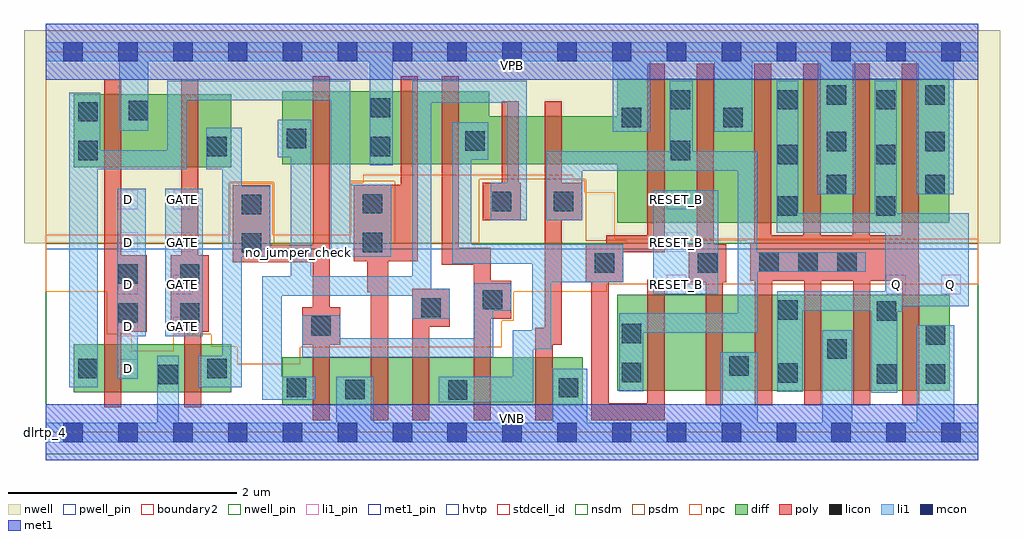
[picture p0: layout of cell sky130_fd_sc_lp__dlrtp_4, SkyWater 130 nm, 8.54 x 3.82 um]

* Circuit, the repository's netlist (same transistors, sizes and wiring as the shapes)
* Copyright 2020 The SkyWater PDK Authors
*
* Licensed under the Apache License, Version 2.0 (the "License");
* you may not use this file except in compliance with the License.
* You may obtain a copy of the License at
*
*     https://www.apache.org/licenses/LICENSE-2.0
*
* Unless required by applicable law or agreed to in writing, software
* distributed under the License is distributed on an "AS IS" BASIS,
* WITHOUT WARRANTIES OR CONDITIONS OF ANY KIND, either express or implied.
* See the License for the specific language governing permissions and
* limitations under the License.
*
* SPDX-License-Identifier: Apache-2.0

.SUBCKT sky130_fd_sc_lp__dlrtp_4 D GATE RESET_B VGND VNB VPB VPWR Q
*.PININFO D:I GATE:I RESET_B:I VGND:I VNB:I VPB:I VPWR:I Q:O
MI635 clkpos clkneg VPWR VPB sky130_fd_pr__pfet_01v8_hvt m=1 w=0.64U l=0.15U mult=1
+ sa=0.265 sb=0.265 sd=0.28 area=0.063 perim=1.14
MI17 M0 clkneg net51 VPB sky130_fd_pr__pfet_01v8_hvt m=1 w=0.64U l=0.15U mult=1
+ sa=0.265 sb=0.265 sd=0.28 area=0.063 perim=1.14
MI650 Q m1 VPWR VPB sky130_fd_pr__pfet_01v8_hvt m=4 w=1.26U l=0.15U mult=1 sa=0.265
+ sb=0.265 sd=0.28 area=0.063 perim=1.14
MI633 clkneg GATE VPWR VPB sky130_fd_pr__pfet_01v8_hvt m=1 w=0.64U l=0.15U mult=1
+ sa=0.265 sb=0.265 sd=0.28 area=0.063 perim=1.14
MI658 m1 RESET_B VPWR VPB sky130_fd_pr__pfet_01v8_hvt m=1 w=1.26U l=0.15U mult=1
+ sa=0.265 sb=0.265 sd=0.28 area=0.063 perim=1.14
MI18 net51 db VPWR VPB sky130_fd_pr__pfet_01v8_hvt m=1 w=0.64U l=0.15U mult=1 sa=0.265
+ sb=0.265 sd=0.28 area=0.063 perim=1.14
MI653 net59 m1 VPWR VPB sky130_fd_pr__pfet_01v8_hvt m=1 w=0.42U l=0.15U mult=1
+ sa=0.265 sb=0.265 sd=0.28 area=0.063 perim=1.14
MI651 M0 clkpos net59 VPB sky130_fd_pr__pfet_01v8_hvt m=1 w=0.42U l=0.15U mult=1
+ sa=0.265 sb=0.265 sd=0.28 area=0.063 perim=1.14
MI655 m1 M0 VPWR VPB sky130_fd_pr__pfet_01v8_hvt m=1 w=1.26U l=0.15U mult=1 sa=0.265
+ sb=0.265 sd=0.28 area=0.063 perim=1.14
MI638 db D VPWR VPB sky130_fd_pr__pfet_01v8_hvt m=1 w=0.64U l=0.15U mult=1 sa=0.265
+ sb=0.265 sd=0.28 area=0.063 perim=1.14
MI634 clkneg GATE VGND VNB sky130_fd_pr__nfet_01v8 m=1 w=0.42U l=0.15U mult=1 sa=0.265
+ sb=0.265 sd=0.28 area=0.063 perim=1.14
MI649 Q m1 VGND VNB sky130_fd_pr__nfet_01v8 m=4 w=0.84U l=0.15U mult=1 sa=0.265
+ sb=0.265 sd=0.28 area=0.063 perim=1.14
MI657 net86 RESET_B VGND VNB sky130_fd_pr__nfet_01v8 m=1 w=0.84U l=0.15U mult=1
+ sa=0.265 sb=0.265 sd=0.28 area=0.063 perim=1.14
MI652 M0 clkneg net102 VNB sky130_fd_pr__nfet_01v8 m=1 w=0.42U l=0.15U mult=1 sa=0.265
+ sb=0.265 sd=0.28 area=0.063 perim=1.14
MI654 net102 m1 VGND VNB sky130_fd_pr__nfet_01v8 m=1 w=0.42U l=0.15U mult=1 sa=0.265
+ sb=0.265 sd=0.28 area=0.063 perim=1.14
MI656 m1 M0 net86 VNB sky130_fd_pr__nfet_01v8 m=1 w=0.84U l=0.15U mult=1 sa=0.265
+ sb=0.265 sd=0.28 area=0.063 perim=1.14
MI636 clkpos clkneg VGND VNB sky130_fd_pr__nfet_01v8 m=1 w=0.42U l=0.15U mult=1
+ sa=0.265 sb=0.265 sd=0.28 area=0.063 perim=1.14
MI637 db D VGND VNB sky130_fd_pr__nfet_01v8 m=1 w=0.42U l=0.15U mult=1 sa=0.265
+ sb=0.265 sd=0.28 area=0.063 perim=1.14
MI19 M0 clkpos net98 VNB sky130_fd_pr__nfet_01v8 m=1 w=0.42U l=0.15U mult=1 sa=0.265
+ sb=0.265 sd=0.28 area=0.063 perim=1.14
MI20 net98 db VGND VNB sky130_fd_pr__nfet_01v8 m=1 w=0.42U l=0.15U mult=1 sa=0.265
+ sb=0.265 sd=0.28 area=0.063 perim=1.14
.ENDS sky130_fd_sc_lp__dlrtp_4

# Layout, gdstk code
import gdstk
lib = gdstk.Library(unit=1e-6, precision=1e-09)
def R(c, l, rs):  # rectangles x0, y0, x1, y1
    for r in rs: c.add(gdstk.rectangle(r[:2], r[2:], *l))
def A(c, l, x, y, w, h, nx, ny, dx, dy):  # array of equal rectangles
    R(c, l, [(x+i*dx, y+j*dy, x+i*dx+w, y+j*dy+h) for i in range(nx) for j in range(ny)])
def P(c, l, *ps):  # polygons
    for p in ps: c.add(gdstk.Polygon(p, *l))
nwell_pin = (64, 16)
nwell = (64, 20)
diff = (65, 20)
poly = (66, 20)
licon = (66, 44)
li1_pin = (67, 16)
li1 = (67, 20)
mcon = (67, 44)
met1_pin = (68, 16)
met1 = (68, 20)
hvtp = (78, 44)
stdcell_id = (81, 4)
nsdm = (93, 44)
psdm = (94, 20)
npc = (95, 20)
pwell_pin = (122, 16)
boundary2 = (236, 0)

sky130_fd_sc_lp__dlrtp_4 = lib.new_cell('sky130_fd_sc_lp__dlrtp_4')
R(sky130_fd_sc_lp__dlrtp_4, nwell_pin, [(0,3.085,8.16,3.33)])
R(sky130_fd_sc_lp__dlrtp_4, nwell, [(-0.19,1.655,8.35,3.52)])
R(sky130_fd_sc_lp__dlrtp_4, diff, [(2.07,0.235,4.7,0.655), (0.245,0.35,1.625,0.77), (5,0.365,7.91,1.205), (0.245,2.32,1.625,2.96)])
P(sky130_fd_sc_lp__dlrtp_4, diff, [(7.905,3.095),(5,3.095),(5,2.765),(3.88,2.765),(3.88,2.985),(2.07,2.985),(2.07,2.345),(5,2.345),(5,1.835),(7.905,1.835)])
P(sky130_fd_sc_lp__dlrtp_4, poly, [(0.885,1.55),(0.66,1.55),(0.66,3.09),(0.51,3.09),(0.51,0.22),(0.66,0.22),(0.66,0.88),(0.885,0.88)],
  [(1.425,1.55),(1.335,1.55),(1.335,3.09),(1.185,3.09),(1.185,1.55),(1.095,1.55),(1.095,0.88),(1.21,0.88),(1.21,0.22),(1.36,0.22),(1.36,0.88),(1.425,0.88)],
  [(2.575,1.095),(2.485,1.095),(2.485,3.115),(2.335,3.115),(2.335,1.64),(1.965,1.64),(1.965,2.16),(1.635,2.16),(1.635,1.49),(2.335,1.49),(2.335,1.095),(2.245,1.095),(2.245,0.765),(2.335,0.765),(2.335,0.105),(2.485,0.105),(2.485,0.765),(2.575,0.765)],
  [(3.255,3.115),(3.105,3.115),(3.105,2.165),(2.695,2.165),(2.695,1.495),(2.815,1.495),(2.815,1.225),(2.845,1.225),(2.845,0.105),(2.995,0.105),(2.995,1.495),(3.255,1.495)],
  [(3.535,1.255),(3.205,1.255),(3.205,0.105),(3.355,0.105),(3.355,0.925),(3.535,0.925)],
  [(4.075,1.325),(3.895,1.325),(3.895,1.615),(3.615,1.615),(3.615,3.115),(3.465,3.115),(3.465,1.465),(3.745,1.465),(3.745,0.105),(3.895,0.105),(3.895,0.995),(4.075,0.995)],
  [(4.155,2.185),(4.14,2.185),(4.14,2.895),(3.99,2.895),(3.99,2.185),(3.825,2.185),(3.825,1.855),(4.155,1.855)],
  [(4.695,2.185),(4.515,2.185),(4.515,2.895),(4.365,2.895),(4.365,0.915),(4.285,0.915),(4.285,0.105),(4.435,0.105),(4.435,0.765),(4.515,0.765),(4.515,1.855),(4.695,1.855)],
  [(5.415,1.335),(5.265,1.335),(5.265,0.255),(4.925,0.255),(4.925,1.315),(5.055,1.315),(5.055,1.575),(5.415,1.575),(5.415,3.225),(5.265,3.225),(5.265,1.725),(4.905,1.725),(4.905,1.645),(4.725,1.645),(4.725,1.315),(4.775,1.315),(4.775,0.105),(5.415,0.105)],
  [(5.955,1.645),(5.845,1.645),(5.845,3.225),(5.695,3.225),(5.695,1.645),(5.625,1.645),(5.625,1.315),(5.775,1.315),(5.775,0.235),(5.925,0.235),(5.925,1.315),(5.955,1.315)],
  [(7.645,1.475),(7.64,1.475),(7.64,3.225),(7.49,3.225),(7.49,1.725),(7.21,1.725),(7.21,3.225),(7.06,3.225),(7.06,1.725),(6.78,1.725),(6.78,3.225),(6.63,3.225),(6.63,1.725),(6.35,1.725),(6.35,3.225),(6.2,3.225),(6.2,1.655),(6.165,1.655),(6.165,1.325),(6.205,1.325),(6.205,0.235),(6.355,0.235),(6.355,1.325),(6.635,1.325),(6.635,0.235),(6.785,0.235),(6.785,1.325),(7.065,1.325),(7.065,0.235),(7.215,0.235),(7.215,1.325),(7.495,1.325),(7.495,0.235),(7.645,0.235)])
A(sky130_fd_sc_lp__dlrtp_4, licon, 6.245, 1.405, 0.17, 0.17, 3, 1, 0.34, 0)
R(sky130_fd_sc_lp__dlrtp_4, licon, [(3.52,0.285,3.69,0.455), (2.62,0.29,2.79,0.46), (2.11,0.305,2.28,0.475), (4.49,0.305,4.66,0.475), (0.985,0.42,1.155,0.59), (7.27,0.425,7.44,0.595), (7.7,0.425,7.87,0.595), (6.41,0.435,6.58,0.605), (5.04,0.44,5.21,0.61), (0.285,0.475,0.455,0.645), (1.415,0.475,1.585,0.645), (5.98,0.495,6.15,0.665), (6.84,0.645,7.01,0.815), (7.7,0.765,7.87,0.935), (5.04,0.78,5.21,0.95), (2.325,0.845,2.495,1.015), (0.635,0.96,0.805,1.13), (1.175,0.96,1.345,1.13), (7.27,0.975,7.44,1.145), (6.41,0.985,6.58,1.155), (3.285,1.005,3.455,1.175), (3.825,1.075,3.995,1.245), (0.635,1.3,0.805,1.47), (1.175,1.3,1.345,1.47), (4.805,1.395,4.975,1.565), (5.705,1.395,5.875,1.565), (1.715,1.57,1.885,1.74), (2.775,1.575,2.945,1.745), (6.405,1.895,6.575,2.065), (7.265,1.895,7.435,2.065), (1.715,1.91,1.885,2.08), (2.775,1.915,2.945,2.085), (3.905,1.935,4.075,2.105), (4.445,1.935,4.615,2.105), (6.835,2.085,7.005,2.255), (7.695,2.085,7.865,2.255), (6.405,2.345,6.575,2.515), (7.265,2.345,7.435,2.515), (0.285,2.38,0.455,2.55), (5.47,2.38,5.64,2.55), (1.415,2.415,1.585,2.585), (2.845,2.415,3.015,2.585), (6.835,2.46,7.005,2.63), (7.695,2.46,7.865,2.63), (3.67,2.465,3.84,2.635), (2.11,2.485,2.28,2.655), (5.04,2.67,5.21,2.84), (5.93,2.67,6.1,2.84), (0.285,2.72,0.455,2.89), (0.725,2.73,0.895,2.9), (2.845,2.755,3.015,2.925), (5.47,2.825,5.64,2.995), (6.405,2.825,6.575,2.995), (7.265,2.825,7.435,2.995), (6.835,2.865,7.005,3.035), (7.695,2.865,7.865,3.035)])
A(sky130_fd_sc_lp__dlrtp_4, li1_pin, 0.635, 0.47, 0.17, 0.17, 1, 5, 0, 0.37)
A(sky130_fd_sc_lp__dlrtp_4, li1_pin, 1.115, 0.84, 0.17, 0.17, 1, 4, 0, 0.37)
A(sky130_fd_sc_lp__dlrtp_4, li1_pin, 5.435, 1.21, 0.17, 0.17, 1, 3, 0, 0.37)
R(sky130_fd_sc_lp__dlrtp_4, li1_pin, [(7.355,1.21,7.525,1.38), (7.835,1.21,8.005,1.38)])
R(sky130_fd_sc_lp__dlrtp_4, li1, [(1.045,0.84,1.375,2.13), (5.315,1.21,5.885,2.12)])
P(sky130_fd_sc_lp__dlrtp_4, li1, [(2.835,2.335),(2.835,3.245),(0.895,3.245),(0.895,2.64),(0.645,2.64),(0.645,3.245),(0,3.245),(0,3.415),(8.16,3.415),(8.16,3.245),(7.945,3.245),(7.945,2.085),(7.615,2.085),(7.615,3.245),(7.085,3.245),(7.085,2.085),(6.755,2.085),(6.755,3.245),(6.18,3.245),(6.18,2.63),(5.85,2.63),(5.85,3.245),(5.29,3.245),(5.29,2.63),(4.96,2.63),(4.96,3.245),(3.035,3.245),(3.035,2.335)],
  [(4.435,0.085),(4.435,0.555),(4.74,0.555),(4.74,0.085),(5.9,0.085),(5.9,0.7),(6.23,0.7),(6.23,0.085),(6.795,0.085),(6.795,0.895),(7.055,0.895),(7.055,0.085),(7.62,0.085),(7.62,0.935),(7.95,0.935),(7.95,0.085),(8.16,0.085),(8.16,-0.085),(0,-0.085),(0,0.085),(0.975,0.085),(0.975,0.67),(1.165,0.67),(1.165,0.085),(2.54,0.085),(2.54,0.485),(2.87,0.485),(2.87,0.085)],
  [(2.495,1.535),(2.495,2.905),(1.235,2.905),(1.235,2.3),(0.455,2.3),(0.455,0.395),(0.205,0.395),(0.205,2.97),(0.475,2.97),(0.475,2.47),(1.065,2.47),(1.065,3.075),(2.665,3.075),(2.665,2.165),(3.025,2.165),(3.025,1.535)],
  [(5.46,2.46),(5.46,3.075),(5.66,3.075),(5.66,2.46),(6.225,2.46),(6.225,1.575),(7.175,1.575),(7.175,1.405),(6.23,1.405),(6.23,0.87),(5.23,0.87),(5.23,0.36),(5.02,0.36),(5.02,1.04),(6.055,1.04),(6.055,2.29),(4.695,2.29),(4.695,1.855),(4.38,1.855),(4.38,2.46)],
  [(4.255,1.475),(3.555,1.475),(3.555,2.715),(3.87,2.715),(3.87,2.385),(3.725,2.385),(3.725,1.645),(5.055,1.645),(5.055,1.315),(4.425,1.315),(4.425,0.725),(4.265,0.725),(4.265,0.265),(3.44,0.265),(3.44,0.485),(4.085,0.485),(4.085,0.895),(4.255,0.895)],
  [(2.575,0.825),(3.745,0.825),(3.745,1.305),(4.075,1.305),(4.075,1.065),(3.915,1.065),(3.915,0.655),(2.245,0.655),(2.245,1.025),(2.575,1.025)],
  [(3.205,3.075),(4.21,3.075),(4.21,1.855),(3.895,1.855),(3.895,2.185),(4.04,2.185),(4.04,2.885),(3.375,2.885),(3.375,1.255),(3.535,1.255),(3.535,0.995),(3.205,0.995),(3.205,1.195),(2.065,1.195),(2.065,0.485),(2.36,0.485),(2.36,0.285),(1.895,0.285),(1.895,1.365),(2.145,1.365),(2.145,2.405),(2.03,2.405),(2.03,2.735),(2.325,2.735),(2.325,1.365),(3.205,1.365)],
  [(0.805,0.84),(0.875,0.84),(0.875,2.13),(0.625,2.13),(0.625,0.47),(0.805,0.47)],
  [(1.715,2.155),(1.965,2.155),(1.965,1.535),(1.715,1.535),(1.715,0.395),(1.335,0.395),(1.335,0.67),(1.545,0.67),(1.545,2.3),(1.405,2.3),(1.405,2.665),(1.715,2.665)],
  [(8.075,1.915),(7.445,1.915),(7.445,3.075),(7.255,3.075),(7.255,1.915),(6.585,1.915),(6.585,3.075),(6.395,3.075),(6.395,1.745),(7.345,1.745),(7.345,1.235),(6.4,1.235),(6.4,0.355),(6.625,0.355),(6.625,1.065),(7.225,1.065),(7.225,0.345),(7.45,0.345),(7.45,1.055),(7.495,1.055),(7.495,1.105),(8.075,1.105)])
A(sky130_fd_sc_lp__dlrtp_4, mcon, 0.155, -0.085, 0.17, 0.17, 17, 2, 0.48, 3.33)
R(sky130_fd_sc_lp__dlrtp_4, met1_pin, [(0,0,8.16,0.245), (0,3.085,8.16,3.33)])
R(sky130_fd_sc_lp__dlrtp_4, met1, [(0,-0.245,8.16,0.245), (0,3.085,8.16,3.575)])
R(sky130_fd_sc_lp__dlrtp_4, hvtp, [(0,1.6,8.16,3.33)])
R(sky130_fd_sc_lp__dlrtp_4, stdcell_id, [(0,0,8.16,3.33)])
R(sky130_fd_sc_lp__dlrtp_4, nsdm, [(0,-0.19,8.16,1.655)])
P(sky130_fd_sc_lp__dlrtp_4, psdm, [(8.16,3.52),(0,3.52),(0,1.655),(1.605,1.655),(1.605,2.19),(1.995,2.19),(1.995,1.655),(2.665,1.655),(2.665,2.195),(3.055,2.195),(3.055,1.655),(3.795,1.655),(3.795,2.215),(4.725,2.215),(4.725,1.675),(5.085,1.675),(5.085,1.655),(5.595,1.655),(5.595,1.675),(6.135,1.675),(6.135,1.685),(7.205,1.685),(7.205,1.655),(8.16,1.655)])
P(sky130_fd_sc_lp__dlrtp_4, npc, [(8.16,1.695),(4.98,1.695),(4.98,2.1),(4.715,2.1),(4.715,2.205),(4.61,2.205),(4.61,2.255),(2.78,2.255),(2.78,2.185),(2.675,2.185),(2.675,1.73),(1.985,1.73),(1.985,2.18),(1.615,2.18),(1.615,1.73),(0,1.73),(0,1.23),(0.535,1.23),(0.535,0.86),(0.75,0.86),(0.75,0.71),(1.12,0.71),(1.12,0.86),(1.45,0.86),(1.45,0.75),(1.675,0.75),(1.675,0.595),(2.225,0.595),(2.225,0.745),(3.99,0.745),(3.99,0.975),(4.095,0.975),(4.095,1.23),(4.91,1.23),(4.91,1.295),(8.16,1.295)])
R(sky130_fd_sc_lp__dlrtp_4, pwell_pin, [(0,0,8.16,0.245)])
R(sky130_fd_sc_lp__dlrtp_4, boundary2, [(0,0,8.16,3.33)])
sky130_fd_sc_lp__dlrtp_4.add(gdstk.Label('VNB', (4.08,0.123), layer=64, texttype=59))
sky130_fd_sc_lp__dlrtp_4.add(gdstk.Label('VPB', (4.08,3.208), layer=64, texttype=5))
sky130_fd_sc_lp__dlrtp_4.add(gdstk.Label('dlrtp_4', (0,0), layer=83, texttype=44))
sky130_fd_sc_lp__dlrtp_4.add(gdstk.Label('no_jumper_check', (2.21,1.575), layer=83, texttype=44))
sky130_fd_sc_lp__dlrtp_4.add(gdstk.Label('VPWR', (4.08,3.208), layer=68, texttype=5))
sky130_fd_sc_lp__dlrtp_4.add(gdstk.Label('VGND', (4.08,0.123), layer=68, texttype=5))
sky130_fd_sc_lp__dlrtp_4.add(gdstk.Label('D', (0.72,0.555), layer=67, texttype=5))
sky130_fd_sc_lp__dlrtp_4.add(gdstk.Label('D', (0.72,0.925), layer=67, texttype=5))
sky130_fd_sc_lp__dlrtp_4.add(gdstk.Label('D', (0.72,1.295), layer=67, texttype=5))
sky130_fd_sc_lp__dlrtp_4.add(gdstk.Label('D', (0.72,1.665), layer=67, texttype=5))
sky130_fd_sc_lp__dlrtp_4.add(gdstk.Label('D', (0.72,2.035), layer=67, texttype=5))
sky130_fd_sc_lp__dlrtp_4.add(gdstk.Label('RESET_B', (5.52,1.295), layer=67, texttype=5))
sky130_fd_sc_lp__dlrtp_4.add(gdstk.Label('RESET_B', (5.52,1.665), layer=67, texttype=5))
sky130_fd_sc_lp__dlrtp_4.add(gdstk.Label('RESET_B', (5.52,2.035), layer=67, texttype=5))
sky130_fd_sc_lp__dlrtp_4.add(gdstk.Label('GATE', (1.2,0.925), layer=67, texttype=5))
sky130_fd_sc_lp__dlrtp_4.add(gdstk.Label('GATE', (1.2,1.295), layer=67, texttype=5))
sky130_fd_sc_lp__dlrtp_4.add(gdstk.Label('GATE', (1.2,1.665), layer=67, texttype=5))
sky130_fd_sc_lp__dlrtp_4.add(gdstk.Label('GATE', (1.2,2.035), layer=67, texttype=5))
sky130_fd_sc_lp__dlrtp_4.add(gdstk.Label('Q', (7.44,1.295), layer=67, texttype=5))
sky130_fd_sc_lp__dlrtp_4.add(gdstk.Label('Q', (7.92,1.295), layer=67, texttype=5))

lib.write_gds('sky130_fd_sc_lp__dlrtp_4.gds')
